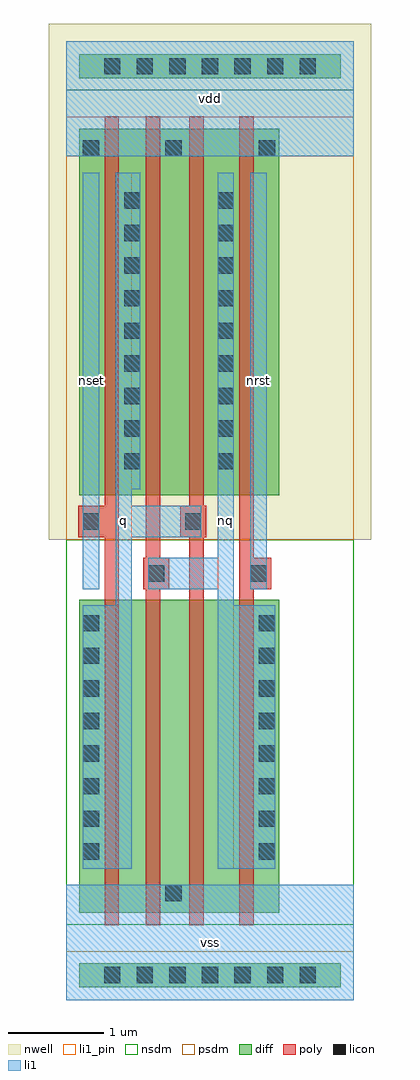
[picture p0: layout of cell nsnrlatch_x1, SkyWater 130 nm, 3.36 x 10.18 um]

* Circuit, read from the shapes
.subckt nsnrlatch_x1 nq nrst nset q vdd vss
XM1 n1 nset q VSUBS sky130_fd_pr__nfet_01v8 w=3.265 l=0.15
XM2 vss nq n1 VSUBS sky130_fd_pr__nfet_01v8 w=3.265 l=0.15
XM3 n2 q vss VSUBS sky130_fd_pr__nfet_01v8 w=3.265 l=0.15
XM4 nq nrst n2 VSUBS sky130_fd_pr__nfet_01v8 w=3.265 l=0.15
XM5 q nset vdd n3 sky130_fd_pr__pfet_01v8 w=3.825 l=0.15
XM6 vdd nq q n3 sky130_fd_pr__pfet_01v8 w=3.825 l=0.15
XM7 nq q vdd n3 sky130_fd_pr__pfet_01v8 w=3.825 l=0.15
XM8 vdd nrst nq n3 sky130_fd_pr__pfet_01v8 w=3.825 l=0.15
.ends

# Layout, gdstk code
import gdstk
lib = gdstk.Library(unit=1e-6, precision=1e-09)
def R(c, l, rs):  # rectangles x0, y0, x1, y1
    for r in rs: c.add(gdstk.rectangle(r[:2], r[2:], *l))
def A(c, l, x, y, w, h, nx, ny, dx, dy):  # array of equal rectangles
    R(c, l, [(x+i*dx, y+j*dy, x+i*dx+w, y+j*dy+h) for i in range(nx) for j in range(ny)])
def P(c, l, *ps):  # polygons
    for p in ps: c.add(gdstk.Polygon(p, *l))
nwell = (64, 20)
diff = (65, 20)
poly = (66, 20)
licon = (66, 44)
li1_pin = (67, 16)
li1 = (67, 20)
nsdm = (93, 44)
psdm = (94, 20)

nsnrlatch_x1 = lib.new_cell('nsnrlatch_x1')
R(nsnrlatch_x1, nwell, [(-0.18,4.8,3.18,10.18)])
R(nsnrlatch_x1, diff, [(0.135,0.135,2.865,0.385), (0.135,0.91,2.22,4.175), (0.135,5.265,2.22,9.09), (0.135,9.615,2.865,9.865)])
R(nsnrlatch_x1, poly, [(0.83,0.78,0.98,9.22), (0.805,4.285,1.075,4.615), (1.87,4.285,2.14,4.615)])
P(nsnrlatch_x1, poly, [(1.285,0.78),(1.285,4.825),(1.19,4.825),(1.19,5.155),(1.285,5.155),(1.285,9.22),(1.435,9.22),(1.435,5.155),(1.46,5.155),(1.46,4.825),(1.435,4.825),(1.435,0.78)],
  [(0.4,0.78),(0.4,4.825),(0.125,4.825),(0.125,5.155),(0.4,5.155),(0.4,9.22),(0.55,9.22),(0.55,0.78)],
  [(1.805,0.78),(1.805,9.22),(1.955,9.22),(1.955,4.615),(2.005,4.615),(2.005,4.285),(1.955,4.285),(1.955,0.78)])
A(nsnrlatch_x1, licon, 0.395, 0.175, 0.17, 0.17, 7, 2, 0.34, 9.48)
A(nsnrlatch_x1, licon, 0.175, 1.465, 0.17, 0.17, 1, 8, 0, 0.34)
A(nsnrlatch_x1, licon, 2.01, 1.465, 0.17, 0.17, 1, 8, 0, 0.34)
A(nsnrlatch_x1, licon, 0.605, 5.535, 0.17, 0.17, 1, 9, 0, 0.34)
A(nsnrlatch_x1, licon, 1.58, 5.535, 0.17, 0.17, 1, 9, 0, 0.34)
R(nsnrlatch_x1, licon, [(1.035,1.03,1.205,1.2), (0.855,4.365,1.025,4.535), (1.92,4.365,2.09,4.535), (0.175,4.905,0.345,5.075), (1.24,4.905,1.41,5.075), (0.175,8.8,0.345,8.97), (1.035,8.8,1.205,8.97), (2.01,8.8,2.18,8.97)])
R(nsnrlatch_x1, li1_pin, [(0,0,3,1.2), (0.515,1.37,0.685,8.63), (1.58,1.37,1.75,8.63), (0.175,4.285,0.345,8.63), (1.92,4.285,2.09,8.63), (0,8.8,3,10)])
R(nsnrlatch_x1, li1, [(0,0,3,1.2), (0.175,4.285,0.345,8.63), (1.92,4.285,2.09,8.63), (0,8.8,3,10)])
P(nsnrlatch_x1, li1, [(0.175,1.37),(0.175,4.115),(0.515,4.115),(0.515,8.63),(0.775,8.63),(0.775,5.325),(0.685,5.325),(0.685,5.155),(1.41,5.155),(1.41,4.825),(0.685,4.825),(0.685,1.37)],
  [(1.58,1.37),(1.58,4.285),(0.855,4.285),(0.855,4.615),(1.58,4.615),(1.58,8.63),(1.75,8.63),(1.75,4.115),(2.18,4.115),(2.18,1.37)])
R(nsnrlatch_x1, nsdm, [(0,0.785,3,4.8), (0,9.49,3,10)])
R(nsnrlatch_x1, psdm, [(0,0,3,0.51), (0,4.8,3,9.215)])
nsnrlatch_x1.add(gdstk.Label('q', (0.6,5), layer=67, texttype=16))
nsnrlatch_x1.add(gdstk.Label('vdd', (1.5,9.4), layer=67, texttype=16))
nsnrlatch_x1.add(gdstk.Label('vss', (1.5,0.6), layer=67, texttype=16))
nsnrlatch_x1.add(gdstk.Label('nset', (0.26,6.458), layer=67, texttype=16))
nsnrlatch_x1.add(gdstk.Label('nq', (1.665,5), layer=67, texttype=16))
nsnrlatch_x1.add(gdstk.Label('nrst', (2.005,6.458), layer=67, texttype=16))

lib.write_gds('nsnrlatch_x1.gds')
